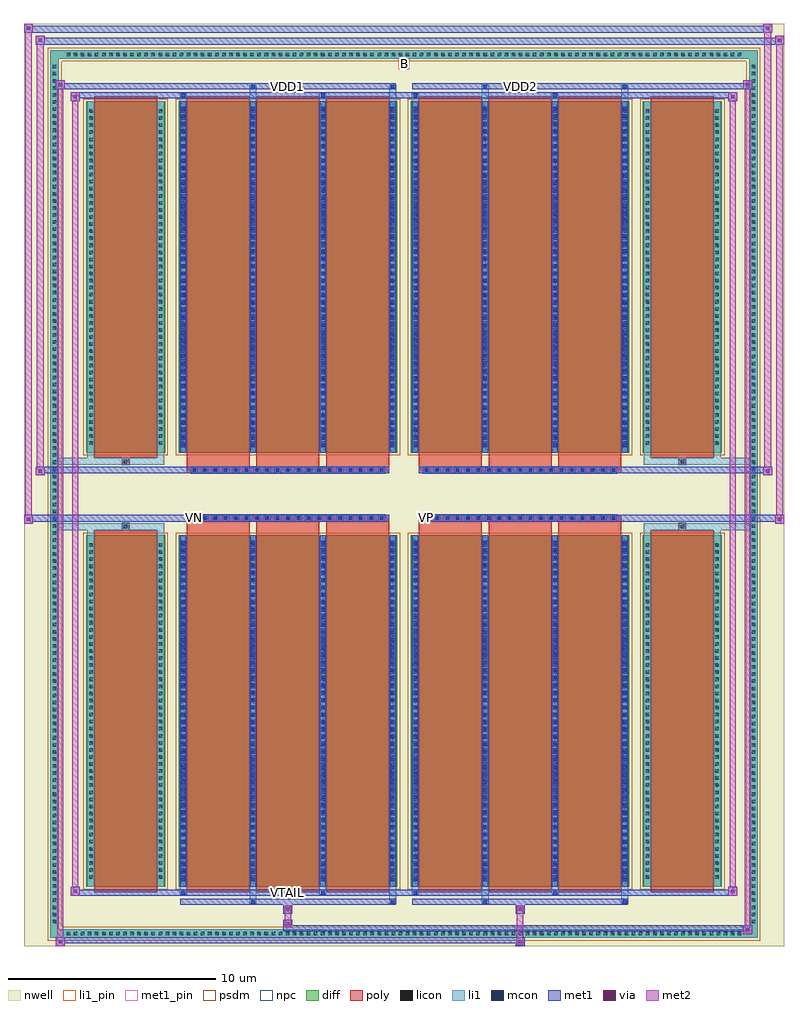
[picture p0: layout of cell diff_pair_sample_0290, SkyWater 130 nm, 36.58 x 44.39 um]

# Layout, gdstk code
import gdstk
lib = gdstk.Library(unit=1e-6, precision=5e-09)
def R(c, l, rs):  # rectangles x0, y0, x1, y1
    for r in rs: c.add(gdstk.rectangle(r[:2], r[2:], *l))
def A(c, l, x, y, w, h, nx, ny, dx, dy):  # array of equal rectangles
    R(c, l, [(x+i*dx, y+j*dy, x+i*dx+w, y+j*dy+h) for i in range(nx) for j in range(ny)])
def P(c, l, *ps):  # polygons
    for p in ps: c.add(gdstk.Polygon(p, *l))
nwell = (64, 20)
diff = (65, 20)
poly = (66, 20)
licon = (66, 44)
li1_pin = (67, 16)
li1 = (67, 20)
mcon = (67, 44)
met1_pin = (68, 16)
met1 = (68, 20)
via = (68, 44)
met2 = (69, 20)
psdm = (94, 20)
npc = (95, 20)

diff_pair_sample_0290 = lib.new_cell('diff_pair_sample_0290')
R(diff_pair_sample_0290, nwell, [(-18.29,-21.76,18.29,22.63), (-15.61,-19.95,-0.01,-0.795), (0.01,-19.95,15.61,-0.795), (-15.61,0.795,-0.01,19.95), (0.01,0.795,15.61,19.95)])
A(diff_pair_sample_0290, diff, -16.355, -21.36, 0.41, 0.41, 96, 2, 0.34, 42.31)
A(diff_pair_sample_0290, diff, -17.02, -20.775, 0.41, 0.41, 1, 122, 0, 0.34)
A(diff_pair_sample_0290, diff, 16.61, -20.775, 0.41, 0.41, 1, 122, 0, 0.34)
R(diff_pair_sample_0290, diff, [(-16.355,-21.36,16.355,-20.95), (-17.02,-20.775,-16.61,20.775), (16.61,-20.775,17.02,20.775), (-15.3,-18.905,-11.49,-1.985), (-10.85,-18.905,-0.32,-1.985), (0.32,-18.905,10.85,-1.985), (11.49,-18.905,15.3,-1.985), (-15.3,1.985,-11.49,18.905), (-10.85,1.985,-0.32,18.905), (0.32,1.985,10.85,18.905), (11.49,1.985,15.3,18.905), (-16.355,20.95,16.355,21.36)])
P(diff_pair_sample_0290, diff, [(17.02,21.36),(-17.02,21.36),(-17.02,-20.95),(-16.61,-20.95),(-16.61,20.95),(16.61,20.95),(16.61,-20.95),(-16.61,-20.95),(-17.02,-20.95),(-17.02,-21.36),(17.02,-21.36)])
A(diff_pair_sample_0290, poly, -10.46, -19.155, 3.03, 17.42, 3, 2, 3.36, 20.89)
A(diff_pair_sample_0290, poly, 0.71, -19.155, 3.03, 17.42, 3, 2, 3.36, 20.89)
A(diff_pair_sample_0290, poly, -10.46, -1.735, 3.03, 0.41, 3, 2, 3.36, 3.06)
A(diff_pair_sample_0290, poly, 0.71, -1.735, 3.03, 0.41, 3, 2, 3.36, 3.06)
A(diff_pair_sample_0290, poly, -10.25, -1.325, 0.33, 0.33, 19, 2, 0.5, 2.32)
A(diff_pair_sample_0290, poly, 0.92, -1.325, 0.33, 0.33, 19, 2, 0.5, 2.32)
R(diff_pair_sample_0290, poly, [(-14.91,-19.155,-11.88,-1.735), (11.88,-19.155,14.91,-1.735), (-13.56,-1.735,-13.23,-1.405), (-13.56,-1.735,-13.23,-1.405), (13.23,-1.735,13.56,-1.405), (13.23,-1.735,13.56,-1.405), (-10.46,-1.325,-0.71,-0.995), (0.71,-1.325,10.46,-0.995), (-10.46,0.995,-0.71,1.325), (0.71,0.995,10.46,1.325), (-13.56,1.405,-13.23,1.735), (-13.56,1.405,-13.23,1.735), (13.23,1.405,13.56,1.735), (13.23,1.405,13.56,1.735), (-14.91,1.735,-11.88,19.155), (11.88,1.735,14.91,19.155)])
A(diff_pair_sample_0290, licon, -16.235, -21.24, 0.17, 0.17, 96, 2, 0.34, 42.31)
A(diff_pair_sample_0290, licon, -16.9, -20.655, 0.17, 0.17, 1, 122, 0, 0.34)
A(diff_pair_sample_0290, licon, 16.73, -20.655, 0.17, 0.17, 1, 122, 0, 0.34)
A(diff_pair_sample_0290, licon, -15.16, -18.52, 0.17, 0.17, 1, 48, 0, 0.34)
A(diff_pair_sample_0290, licon, -11.8, -18.52, 0.17, 0.17, 1, 48, 0, 0.34)
A(diff_pair_sample_0290, licon, -10.71, -18.52, 0.17, 0.17, 4, 48, 3.36, 0.34)
A(diff_pair_sample_0290, licon, 0.46, -18.52, 0.17, 0.17, 4, 48, 3.36, 0.34)
A(diff_pair_sample_0290, licon, 11.63, -18.52, 0.17, 0.17, 1, 48, 0, 0.34)
A(diff_pair_sample_0290, licon, 14.99, -18.52, 0.17, 0.17, 1, 48, 0, 0.34)
A(diff_pair_sample_0290, licon, -10.17, -1.245, 0.17, 0.17, 19, 2, 0.5, 2.32)
A(diff_pair_sample_0290, licon, 1, -1.245, 0.17, 0.17, 19, 2, 0.5, 2.32)
A(diff_pair_sample_0290, licon, -15.16, 2.37, 0.17, 0.17, 1, 48, 0, 0.34)
A(diff_pair_sample_0290, licon, -11.8, 2.37, 0.17, 0.17, 1, 48, 0, 0.34)
A(diff_pair_sample_0290, licon, -10.71, 2.37, 0.17, 0.17, 4, 48, 3.36, 0.34)
A(diff_pair_sample_0290, licon, 0.46, 2.37, 0.17, 0.17, 4, 48, 3.36, 0.34)
A(diff_pair_sample_0290, licon, 11.63, 2.37, 0.17, 0.17, 1, 48, 0, 0.34)
A(diff_pair_sample_0290, licon, 14.99, 2.37, 0.17, 0.17, 1, 48, 0, 0.34)
R(diff_pair_sample_0290, licon, [(-13.48,-1.655,-13.31,-1.485), (13.31,-1.655,13.48,-1.485), (-13.48,1.485,-13.31,1.655), (13.31,1.485,13.48,1.655)])
R(diff_pair_sample_0290, li1_pin, [(-0.25,20.45,0.25,20.95)])
A(diff_pair_sample_0290, li1, -16.315, -21.32, 0.33, 0.33, 96, 2, 0.34, 42.31)
A(diff_pair_sample_0290, li1, -16.98, -20.735, 0.33, 0.33, 1, 122, 0, 0.34)
A(diff_pair_sample_0290, li1, 16.65, -20.735, 0.33, 0.33, 1, 122, 0, 0.34)
A(diff_pair_sample_0290, li1, -10.79, -18.905, 0.33, 16.92, 4, 2, 3.36, 20.89)
A(diff_pair_sample_0290, li1, 0.38, -18.905, 0.33, 16.92, 4, 2, 3.36, 20.89)
A(diff_pair_sample_0290, li1, -10.71, -18.63, 0.17, 0.17, 4, 46, 3.36, 0.36)
A(diff_pair_sample_0290, li1, -10.71, -18.63, 0.17, 16.37, 4, 2, 3.36, 20.89)
A(diff_pair_sample_0290, li1, 0.46, -18.63, 0.17, 0.17, 4, 46, 3.36, 0.36)
A(diff_pair_sample_0290, li1, 0.46, -18.63, 0.17, 16.37, 4, 2, 3.36, 20.89)
A(diff_pair_sample_0290, li1, -15.24, -18.6, 0.33, 0.33, 1, 48, 0, 0.34)
A(diff_pair_sample_0290, li1, -11.88, -18.6, 0.33, 0.33, 1, 48, 0, 0.34)
A(diff_pair_sample_0290, li1, -10.79, -18.6, 0.33, 0.33, 4, 48, 3.36, 0.34)
A(diff_pair_sample_0290, li1, 0.38, -18.6, 0.33, 0.33, 4, 48, 3.36, 0.34)
A(diff_pair_sample_0290, li1, 11.55, -18.6, 0.33, 0.33, 1, 48, 0, 0.34)
A(diff_pair_sample_0290, li1, 14.91, -18.6, 0.33, 0.33, 1, 48, 0, 0.34)
A(diff_pair_sample_0290, li1, -10.25, -1.325, 0.33, 0.33, 19, 2, 0.5, 2.32)
A(diff_pair_sample_0290, li1, 0.92, -1.325, 0.33, 0.33, 19, 2, 0.5, 2.32)
A(diff_pair_sample_0290, li1, -10.71, 2.26, 0.17, 0.17, 4, 46, 3.36, 0.36)
A(diff_pair_sample_0290, li1, 0.46, 2.26, 0.17, 0.17, 4, 46, 3.36, 0.36)
A(diff_pair_sample_0290, li1, -15.24, 2.29, 0.33, 0.33, 1, 48, 0, 0.34)
A(diff_pair_sample_0290, li1, -11.88, 2.29, 0.33, 0.33, 1, 48, 0, 0.34)
A(diff_pair_sample_0290, li1, -10.79, 2.29, 0.33, 0.33, 4, 48, 3.36, 0.34)
A(diff_pair_sample_0290, li1, 0.38, 2.29, 0.33, 0.33, 4, 48, 3.36, 0.34)
A(diff_pair_sample_0290, li1, 11.55, 2.29, 0.33, 0.33, 1, 48, 0, 0.34)
A(diff_pair_sample_0290, li1, 14.91, 2.29, 0.33, 0.33, 1, 48, 0, 0.34)
R(diff_pair_sample_0290, li1, [(-17.02,-21.36,-16.61,-20.95), (-17.02,-21.36,-16.61,-20.95), (-16.61,-21.36,16.61,-20.95), (16.61,-21.36,17.02,-20.95), (16.61,-21.36,17.02,-20.95), (-17.02,-20.95,-16.61,20.95), (16.61,-20.95,17.02,20.95), (-7.43,-19.71,-7.1,-18.905), (-7.35,-19.71,-7.18,-19.54), (-0.71,-19.71,-0.38,-18.905), (-0.63,-19.71,-0.46,-19.54), (3.74,-19.71,4.07,-18.905), (3.82,-19.71,3.99,-19.54), (10.46,-19.71,10.79,-18.905), (10.54,-19.71,10.71,-19.54), (-10.79,-19.28,-10.46,-18.905), (-10.71,-19.28,-10.54,-19.11), (-4.07,-19.28,-3.74,-18.905), (-3.99,-19.28,-3.82,-19.11), (0.38,-19.28,0.71,-18.905), (0.46,-19.28,0.63,-19.11), (7.1,-19.28,7.43,-18.905), (7.18,-19.28,7.35,-19.11), (-15.24,-18.905,-14.91,-1.985), (-11.88,-18.905,-11.55,-1.985), (11.55,-18.905,11.88,-1.985), (14.91,-18.905,15.24,-1.985), (-15.24,-1.985,-14.91,-1.405), (-11.88,-1.985,-11.55,-1.405), (11.55,-1.985,11.88,-1.405), (14.91,-1.985,15.24,-1.405), (-17.02,-1.735,-13.56,-1.405), (-15.24,-1.735,-13.56,-1.405), (-13.56,-1.735,-13.23,-1.405), (-13.23,-1.735,-11.55,-1.405), (11.55,-1.735,13.23,-1.405), (13.23,-1.735,13.56,-1.405), (13.23,-1.735,17.02,-1.405), (13.56,-1.735,15.24,-1.405), (-17.02,1.405,-13.56,1.735), (-15.24,1.405,-13.56,1.735), (-15.24,1.405,-14.91,1.985), (-13.56,1.405,-13.23,1.735), (-13.23,1.405,-11.55,1.735), (-11.88,1.405,-11.55,1.985), (11.55,1.405,13.23,1.735), (11.55,1.405,11.88,1.985), (13.23,1.405,13.56,1.735), (13.23,1.405,17.02,1.735), (13.56,1.405,15.24,1.735), (14.91,1.405,15.24,1.985), (-15.24,1.985,-14.91,18.905), (-11.88,1.985,-11.55,18.905), (11.55,1.985,11.88,18.905), (14.91,1.985,15.24,18.905), (-10.79,18.905,-10.46,19.28), (-7.43,18.905,-7.1,19.71), (-4.07,18.905,-3.74,19.28), (-0.71,18.905,-0.38,19.71), (0.38,18.905,0.71,19.28), (3.74,18.905,4.07,19.71), (7.1,18.905,7.43,19.28), (10.46,18.905,10.79,19.71), (-10.71,19.11,-10.54,19.28), (-3.99,19.11,-3.82,19.28), (0.46,19.11,0.63,19.28), (7.18,19.11,7.35,19.28), (-7.35,19.54,-7.18,19.71), (-0.63,19.54,-0.46,19.71), (3.82,19.54,3.99,19.71), (10.54,19.54,10.71,19.71), (-17.02,20.95,-16.61,21.36), (-17.02,20.95,-16.61,21.36), (-16.61,20.95,16.61,21.36), (16.61,20.95,17.02,21.36), (16.61,20.95,17.02,21.36)])
A(diff_pair_sample_0290, mcon, -10.71, -18.63, 0.17, 0.17, 4, 46, 3.36, 0.36)
A(diff_pair_sample_0290, mcon, 0.46, -18.63, 0.17, 0.17, 4, 46, 3.36, 0.36)
A(diff_pair_sample_0290, mcon, -10.17, -1.245, 0.17, 0.17, 19, 2, 0.5, 2.32)
A(diff_pair_sample_0290, mcon, 1, -1.245, 0.17, 0.17, 19, 2, 0.5, 2.32)
A(diff_pair_sample_0290, mcon, -10.71, 2.26, 0.17, 0.17, 4, 46, 3.36, 0.36)
A(diff_pair_sample_0290, mcon, 0.46, 2.26, 0.17, 0.17, 4, 46, 3.36, 0.36)
R(diff_pair_sample_0290, mcon, [(-7.35,-19.71,-7.18,-19.54), (-0.63,-19.71,-0.46,-19.54), (3.82,-19.71,3.99,-19.54), (10.54,-19.71,10.71,-19.54), (-10.71,-19.28,-10.54,-19.11), (-3.99,-19.28,-3.82,-19.11), (0.46,-19.28,0.63,-19.11), (7.18,-19.28,7.35,-19.11), (-10.71,19.11,-10.54,19.28), (-3.99,19.11,-3.82,19.28), (0.46,19.11,0.63,19.28), (7.18,19.11,7.35,19.28), (-7.35,19.54,-7.18,19.71), (-0.63,19.54,-0.46,19.71), (3.82,19.54,3.99,19.71), (10.54,19.54,10.71,19.71)])
R(diff_pair_sample_0290, met1_pin, [(-5.72,-19.32,-5.45,-19.05), (-10.22,-1.285,-9.95,-1.015), (0.95,-1.285,1.22,-1.015), (-5.72,19.5,-5.45,19.77), (5.45,19.5,5.72,19.77)])
A(diff_pair_sample_0290, met1, -10.77, -18.905, 0.29, 16.92, 4, 2, 3.36, 20.89)
A(diff_pair_sample_0290, met1, 0.4, -18.905, 0.29, 16.92, 4, 2, 3.36, 20.89)
A(diff_pair_sample_0290, met1, -10.77, -18.69, 0.29, 0.29, 4, 46, 3.36, 0.36)
A(diff_pair_sample_0290, met1, 0.4, -18.69, 0.29, 0.29, 4, 46, 3.36, 0.36)
A(diff_pair_sample_0290, met1, -10.23, -1.305, 0.29, 0.29, 19, 2, 0.5, 2.32)
A(diff_pair_sample_0290, met1, 0.94, -1.305, 0.29, 0.29, 19, 2, 0.5, 2.32)
A(diff_pair_sample_0290, met1, -10.77, 2.2, 0.29, 0.29, 4, 46, 3.36, 0.36)
A(diff_pair_sample_0290, met1, 0.4, 2.2, 0.29, 0.29, 4, 46, 3.36, 0.36)
R(diff_pair_sample_0290, met1, [(-16.75,-21.76,-16.32,-21.33), (5.37,-21.76,5.8,-21.33), (-16.75,-21.62,5.8,-21.33), (16.32,-21.19,16.75,-20.76), (-5.8,-21.05,16.75,-20.76), (-5.8,-20.91,-5.37,-20.48), (-5.8,-20.2,-5.37,-19.77), (5.37,-20.2,5.8,-19.77), (-10.77,-19.77,-0.4,-19.48), (-7.41,-19.77,-7.12,-19.48), (-0.69,-19.77,-0.4,-19.48), (0.4,-19.77,10.77,-19.48), (3.76,-19.77,4.05,-19.48), (10.48,-19.77,10.77,-19.48), (-16.04,-19.34,-15.61,-18.91), (-16.04,-19.34,-10.77,-19.05), (-10.77,-19.34,-10.48,-19.05), (-10.77,-19.34,-0.4,-19.05), (-4.05,-19.34,-3.76,-19.05), (-0.4,-19.34,0.4,-19.05), (0.4,-19.34,0.69,-19.05), (0.4,-19.34,10.77,-19.05), (7.12,-19.34,7.41,-19.05), (10.77,-19.34,16.04,-19.05), (15.61,-19.34,16.04,-18.91), (-18.29,-1.425,-17.86,-0.995), (17.86,-1.425,18.29,-0.995), (-18.29,-1.325,-0.71,-0.995), (-10.46,-1.325,-0.71,-0.995), (0.71,-1.325,10.46,-0.995), (0.71,-1.325,18.29,-0.995), (-17.72,0.895,-17.29,1.325), (17.29,0.895,17.72,1.325), (-17.72,0.995,-10.46,1.325), (-10.46,0.995,-0.71,1.325), (0.71,0.995,10.46,1.325), (10.46,0.995,17.72,1.325), (-16.04,18.91,-15.61,19.34), (15.61,18.91,16.04,19.34), (-16.04,19.05,-10.77,19.34), (-10.77,19.05,-10.48,19.34), (-10.77,19.05,-0.4,19.34), (-4.05,19.05,-3.76,19.34), (-0.4,19.05,0.4,19.34), (0.4,19.05,0.69,19.34), (0.4,19.05,10.77,19.34), (7.12,19.05,7.41,19.34), (10.77,19.05,16.04,19.34), (-16.75,19.48,-16.32,19.91), (-16.75,19.48,-10.77,19.77), (-10.77,19.48,-0.4,19.77), (-7.41,19.48,-7.12,19.77), (-0.69,19.48,-0.4,19.77), (0.4,19.48,10.77,19.77), (3.76,19.48,4.05,19.77), (10.48,19.48,10.77,19.77), (10.77,19.48,16.75,19.77), (16.32,19.48,16.75,19.91), (-17.72,21.63,-17.29,22.06), (-17.72,21.63,-15.61,21.96), (-15.61,21.63,15.61,21.96), (15.61,21.63,18.29,21.96), (17.86,21.63,18.29,22.06), (-18.29,22.2,-17.86,22.63), (-18.29,22.2,-15.61,22.53), (-15.61,22.2,15.61,22.53), (15.61,22.2,17.72,22.53), (17.29,22.2,17.72,22.63)])
R(diff_pair_sample_0290, via, [(-16.61,-21.62,-16.46,-21.47), (5.51,-21.62,5.66,-21.47), (16.46,-21.05,16.61,-20.9), (-5.66,-20.77,-5.51,-20.62), (-5.66,-20.06,-5.51,-19.91), (5.51,-20.06,5.66,-19.91), (-15.9,-19.2,-15.75,-19.05), (15.75,-19.2,15.9,-19.05), (-18.15,-1.285,-18,-1.135), (18,-1.285,18.15,-1.135), (-17.58,1.035,-17.43,1.185), (17.43,1.035,17.58,1.185), (-15.9,19.05,-15.75,19.2), (15.75,19.05,15.9,19.2), (-16.61,19.62,-16.46,19.77), (16.46,19.62,16.61,19.77), (-17.58,21.77,-17.43,21.92), (18,21.77,18.15,21.92), (-18.15,22.34,-18,22.49), (17.43,22.34,17.58,22.49)])
R(diff_pair_sample_0290, met2, [(-16.75,-21.76,-16.32,-21.33), (-16.68,-21.76,-16.39,19.91), (-16.39,-21.76,-16.32,-21.33), (-16.7,-21.71,-16.37,-21.38), (5.42,-21.71,5.75,-21.38), (5.42,-21.38,5.75,-20.15), (16.32,-21.19,16.75,-20.76), (16.39,-21.19,16.68,19.91), (16.68,-21.19,16.75,-20.76), (16.37,-21.14,16.7,-20.81), (-5.75,-20.86,-5.42,-20.53), (-5.75,-20.53,-5.42,-20.15), (-5.75,-20.15,-5.42,-19.82), (5.42,-20.15,5.75,-19.82), (-16.04,-19.34,-15.61,-18.91), (-15.97,-19.34,-15.68,19.34), (-15.68,-19.34,-15.61,-18.91), (15.61,-19.34,16.04,-18.91), (15.68,-19.34,15.97,19.34), (15.97,-19.34,16.04,-18.91), (-15.99,-19.29,-15.66,-18.96), (15.66,-19.29,15.99,-18.96), (-18.29,-1.425,-17.86,-0.995), (-18.24,-1.425,-17.91,22.63), (-17.91,-1.425,-17.86,-0.995), (17.86,-1.425,18.29,-0.995), (17.91,-1.425,18.24,22.06), (18.24,-1.425,18.29,-0.995), (-18.24,-1.375,-17.91,-1.045), (17.91,-1.375,18.24,-1.045), (-17.72,0.895,-17.29,1.325), (-17.67,0.895,-17.34,22.06), (-17.34,0.895,-17.29,1.325), (17.29,0.895,17.72,1.325), (17.34,0.895,17.67,22.63), (17.67,0.895,17.72,1.325), (-17.67,0.945,-17.34,1.275), (17.34,0.945,17.67,1.275), (-16.04,18.91,-15.61,19.34), (-15.68,18.91,-15.61,19.34), (15.61,18.91,16.04,19.34), (15.97,18.91,16.04,19.34), (-15.99,18.96,-15.66,19.29), (15.66,18.96,15.99,19.29), (-16.75,19.48,-16.32,19.91), (-16.39,19.48,-16.32,19.91), (16.32,19.48,16.75,19.91), (16.68,19.48,16.75,19.91), (-16.7,19.53,-16.37,19.86), (16.37,19.53,16.7,19.86), (-17.72,21.63,-17.29,22.06), (-17.34,21.63,-17.29,22.06), (17.86,21.63,18.29,22.06), (18.24,21.63,18.29,22.06), (-17.67,21.68,-17.34,22.01), (17.91,21.68,18.24,22.01), (-18.29,22.2,-17.86,22.63), (-17.91,22.2,-17.86,22.63), (17.29,22.2,17.72,22.63), (17.67,22.2,17.72,22.63), (-18.24,22.25,-17.91,22.58), (17.34,22.25,17.67,22.58)])
R(diff_pair_sample_0290, psdm, [(-15.43,-19.035,-11.36,-1.855), (-10.98,-19.035,-0.19,-1.855), (0.19,-19.035,10.98,-1.855), (11.36,-19.035,15.43,-1.855), (-15.43,1.855,-11.36,19.035), (-10.98,1.855,-0.19,19.035), (0.19,1.855,10.98,19.035), (11.36,1.855,15.43,19.035)])
P(diff_pair_sample_0290, psdm, [(17.15,21.49),(-17.15,21.49),(-17.15,-20.82),(-16.48,-20.82),(-16.48,20.82),(16.48,20.82),(16.48,-20.82),(-16.48,-20.82),(-17.15,-20.82),(-17.15,-21.49),(17.15,-21.49)])
A(diff_pair_sample_0290, npc, -10.27, -1.345, 0.37, 0.37, 19, 2, 0.5, 2.32)
A(diff_pair_sample_0290, npc, 0.9, -1.345, 0.37, 0.37, 19, 2, 0.5, 2.32)
R(diff_pair_sample_0290, npc, [(-13.58,-1.755,-13.21,-1.385), (13.21,-1.755,13.58,-1.385), (-10.27,-1.345,-9.4,-0.975), (-10.27,-1.345,-9.4,-0.975), (-9.77,-1.345,-8.9,-0.975), (-9.77,-1.345,-8.9,-0.975), (-9.27,-1.345,-8.4,-0.975), (-9.27,-1.345,-8.4,-0.975), (-8.77,-1.345,-7.9,-0.975), (-8.77,-1.345,-7.9,-0.975), (-8.27,-1.345,-7.4,-0.975), (-8.27,-1.345,-7.4,-0.975), (-7.77,-1.345,-6.9,-0.975), (-7.77,-1.345,-6.9,-0.975), (-7.27,-1.345,-6.4,-0.975), (-7.27,-1.345,-6.4,-0.975), (-6.77,-1.345,-5.9,-0.975), (-6.77,-1.345,-5.9,-0.975), (-6.27,-1.345,-5.4,-0.975), (-6.27,-1.345,-5.4,-0.975), (-5.77,-1.345,-4.9,-0.975), (-5.77,-1.345,-4.9,-0.975), (-5.27,-1.345,-4.4,-0.975), (-5.27,-1.345,-4.4,-0.975), (-4.77,-1.345,-3.9,-0.975), (-4.77,-1.345,-3.9,-0.975), (-4.27,-1.345,-3.4,-0.975), (-4.27,-1.345,-3.4,-0.975), (-3.77,-1.345,-2.9,-0.975), (-3.77,-1.345,-2.9,-0.975), (-3.27,-1.345,-2.4,-0.975), (-3.27,-1.345,-2.4,-0.975), (-2.77,-1.345,-1.9,-0.975), (-2.77,-1.345,-1.9,-0.975), (-2.27,-1.345,-1.4,-0.975), (-2.27,-1.345,-1.4,-0.975), (-1.77,-1.345,-0.9,-0.975), (-1.77,-1.345,-0.9,-0.975), (0.9,-1.345,1.77,-0.975), (0.9,-1.345,1.77,-0.975), (1.4,-1.345,2.27,-0.975), (1.4,-1.345,2.27,-0.975), (1.9,-1.345,2.77,-0.975), (1.9,-1.345,2.77,-0.975), (2.4,-1.345,3.27,-0.975), (2.4,-1.345,3.27,-0.975), (2.9,-1.345,3.77,-0.975), (2.9,-1.345,3.77,-0.975), (3.4,-1.345,4.27,-0.975), (3.4,-1.345,4.27,-0.975), (3.9,-1.345,4.77,-0.975), (3.9,-1.345,4.77,-0.975), (4.4,-1.345,5.27,-0.975), (4.4,-1.345,5.27,-0.975), (4.9,-1.345,5.77,-0.975), (4.9,-1.345,5.77,-0.975), (5.4,-1.345,6.27,-0.975), (5.4,-1.345,6.27,-0.975), (5.9,-1.345,6.77,-0.975), (5.9,-1.345,6.77,-0.975), (6.4,-1.345,7.27,-0.975), (6.4,-1.345,7.27,-0.975), (6.9,-1.345,7.77,-0.975), (6.9,-1.345,7.77,-0.975), (7.4,-1.345,8.27,-0.975), (7.4,-1.345,8.27,-0.975), (7.9,-1.345,8.77,-0.975), (7.9,-1.345,8.77,-0.975), (8.4,-1.345,9.27,-0.975), (8.4,-1.345,9.27,-0.975), (8.9,-1.345,9.77,-0.975), (8.9,-1.345,9.77,-0.975), (9.4,-1.345,10.27,-0.975), (9.4,-1.345,10.27,-0.975), (-10.27,0.975,-9.4,1.345), (-10.27,0.975,-9.4,1.345), (-9.77,0.975,-8.9,1.345), (-9.77,0.975,-8.9,1.345), (-9.27,0.975,-8.4,1.345), (-9.27,0.975,-8.4,1.345), (-8.77,0.975,-7.9,1.345), (-8.77,0.975,-7.9,1.345), (-8.27,0.975,-7.4,1.345), (-8.27,0.975,-7.4,1.345), (-7.77,0.975,-6.9,1.345), (-7.77,0.975,-6.9,1.345), (-7.27,0.975,-6.4,1.345), (-7.27,0.975,-6.4,1.345), (-6.77,0.975,-5.9,1.345), (-6.77,0.975,-5.9,1.345), (-6.27,0.975,-5.4,1.345), (-6.27,0.975,-5.4,1.345), (-5.77,0.975,-4.9,1.345), (-5.77,0.975,-4.9,1.345), (-5.27,0.975,-4.4,1.345), (-5.27,0.975,-4.4,1.345), (-4.77,0.975,-3.9,1.345), (-4.77,0.975,-3.9,1.345), (-4.27,0.975,-3.4,1.345), (-4.27,0.975,-3.4,1.345), (-3.77,0.975,-2.9,1.345), (-3.77,0.975,-2.9,1.345), (-3.27,0.975,-2.4,1.345), (-3.27,0.975,-2.4,1.345), (-2.77,0.975,-1.9,1.345), (-2.77,0.975,-1.9,1.345), (-2.27,0.975,-1.4,1.345), (-2.27,0.975,-1.4,1.345), (-1.77,0.975,-0.9,1.345), (-1.77,0.975,-0.9,1.345), (0.9,0.975,1.77,1.345), (0.9,0.975,1.77,1.345), (1.4,0.975,2.27,1.345), (1.4,0.975,2.27,1.345), (1.9,0.975,2.77,1.345), (1.9,0.975,2.77,1.345), (2.4,0.975,3.27,1.345), (2.4,0.975,3.27,1.345), (2.9,0.975,3.77,1.345), (2.9,0.975,3.77,1.345), (3.4,0.975,4.27,1.345), (3.4,0.975,4.27,1.345), (3.9,0.975,4.77,1.345), (3.9,0.975,4.77,1.345), (4.4,0.975,5.27,1.345), (4.4,0.975,5.27,1.345), (4.9,0.975,5.77,1.345), (4.9,0.975,5.77,1.345), (5.4,0.975,6.27,1.345), (5.4,0.975,6.27,1.345), (5.9,0.975,6.77,1.345), (5.9,0.975,6.77,1.345), (6.4,0.975,7.27,1.345), (6.4,0.975,7.27,1.345), (6.9,0.975,7.77,1.345), (6.9,0.975,7.77,1.345), (7.4,0.975,8.27,1.345), (7.4,0.975,8.27,1.345), (7.9,0.975,8.77,1.345), (7.9,0.975,8.77,1.345), (8.4,0.975,9.27,1.345), (8.4,0.975,9.27,1.345), (8.9,0.975,9.77,1.345), (8.9,0.975,9.77,1.345), (9.4,0.975,10.27,1.345), (9.4,0.975,10.27,1.345), (-13.58,1.385,-13.21,1.755), (13.21,1.385,13.58,1.755)])
diff_pair_sample_0290.add(gdstk.Label('VTAIL', (-5.585,-19.185), layer=68, texttype=5))
diff_pair_sample_0290.add(gdstk.Label('VN', (-10.085,-1.15), layer=68, texttype=5))
diff_pair_sample_0290.add(gdstk.Label('VP', (1.085,-1.15), layer=68, texttype=5))
diff_pair_sample_0290.add(gdstk.Label('B', (0,20.7), layer=67, texttype=5))
diff_pair_sample_0290.add(gdstk.Label('VDD2', (5.585,19.635), layer=68, texttype=5))
diff_pair_sample_0290.add(gdstk.Label('VDD1', (-5.585,19.635), layer=68, texttype=5))

lib.write_gds('diff_pair_sample_0290.gds')
